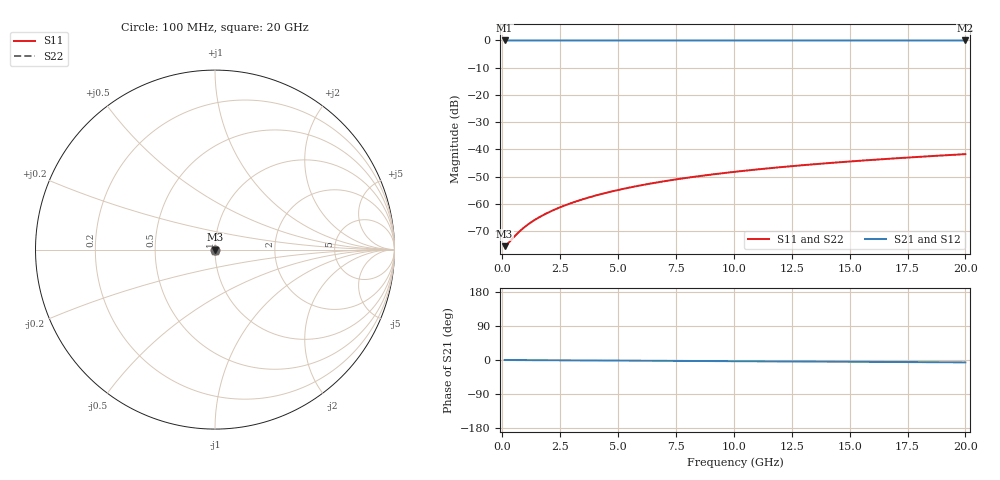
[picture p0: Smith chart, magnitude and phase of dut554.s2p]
! Touchstone file exported from HFSS 2026.1.0
!  File:  C:/ffzhzh/LocalFiles/Ansys_Project_Files/temp_train_TSV_554_1783024350_51716.aedt
!  Generated:  04:34:21 AM Jul  3, 2026
!  Design:  TSV
!  Project:  temp_train_TSV_554_1783024350_51716
! Variables:
!  h_bsmrdl = 2um
!  h_ox = 20um
!  h_rdl = 5um
!  h_sub = 63.85um
!  h_tmrdl = 5um
!  h_tsv = 63.85um
!  h_via = 3um
!  l_bsmrdl = 300um
!  l_sub = 415.24um
!  l_tmrdl = 200um
!  m_sub = 200um
!  pitch = 28.58um
!  r_tsv = 7.62um
!  s_tmrdl = 10um
!  w_bsmrdl = 18um
!  w_sub = 500um
!  w_tmrdl = 12um
!  x_tsv_center1 = 206um
!  x_tsv_center2 = 524um
!  x_tsv_center3 = 736um
!  x_tsv_center4 = 1054um
!  x_tsv_center5 = 1266um
!  x_tsv_center6 = 1584um
# GHz S MA R 50.000000
! Terminal data exported
! Port[1] = TSV1_1_T1
! Port[2] = TSV1_1_T2
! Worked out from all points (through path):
!   200 points, 100 MHz to 20 GHz, reference 50 ohm
!   highest |S21| = 0.00 dB at 100 MHz (marker M1); lowest = 0.0 dB at 20 GHz (marker M2)
!   lowest |S11| = -75.5 dB at 100 MHz (marker M3), VSWR 1.00, Z = 50 + j0.000301 ohm
!   |S11| at or under -10 dB: start of sweep to end of sweep
!   |S22| runs from -75.5 to -41.7 dB; largest |S21 - S12| = 6e-15
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0.1  0.0001677 1.0  0.9998 -0.0  0.9998 -0.0  0.0001677 1.0
! Gamma 0 0 0 0
! Port Impedance 50 0 50 0
0.2  0.0001804 0.9  0.9998 -0.1  0.9998 -0.1  0.0001804 0.9
0.6  0.0002737 -12.1  0.9997 -0.2  0.9997 -0.2  0.0002737 -12.1
0.7  0.0003012 -16.4  0.9997 -0.2  0.9997 -0.2  0.0003012 -16.4
0.9  0.000358 -24.4  0.9997 -0.3  0.9997 -0.3  0.000358 -24.4
1.2  0.0004466 -34.4  0.9996 -0.4  0.9996 -0.4  0.0004466 -34.4
1.5  0.0005389 -41.9  0.9996 -0.5  0.9996 -0.5  0.0005389 -41.9
1.9  0.0006669 -49.2  0.9996 -0.6  0.9996 -0.6  0.0006669 -49.2
2.4  0.0008341 -55.4  0.9995 -0.8  0.9995 -0.8  0.0008341 -55.4
2.9  0.001008 -59.7  0.9995 -0.9  0.9995 -0.9  0.001008 -59.7
3.5  0.001226 -63.4  0.9994 -1.1  0.9994 -1.1  0.001226 -63.4
4.2  0.001489 -66.5  0.9994 -1.3  0.9994 -1.3  0.001489 -66.5
5  0.0018 -69.2  0.9993 -1.6  0.9993 -1.6  0.0018 -69.2
5.9  0.00216 -71.6  0.9992 -1.9  0.9992 -1.9  0.00216 -71.6
6.8  0.002528 -73.5  0.9992 -2.1  0.9992 -2.1  0.002528 -73.5
8.3  0.003151 -76.2  0.9991 -2.6  0.9991 -2.6  0.003151 -76.2
10.1  0.003909 -78.6  0.999 -3.2  0.999 -3.2  0.003909 -78.6
11.7  0.004589 -80.4  0.9989 -3.7  0.9989 -3.7  0.004589 -80.4
13.4  0.005316 -82.0  0.9989 -4.2  0.9989 -4.2  0.005316 -82.0
15  0.006005 -83.3  0.9988 -4.7  0.9988 -4.7  0.006005 -83.3
16.7  0.006742 -84.5  0.9987 -5.2  0.9987 -5.2  0.006743 -84.5
20  0.008194 -86.5  0.9986 -6.3  0.9986 -6.3  0.008194 -86.5
